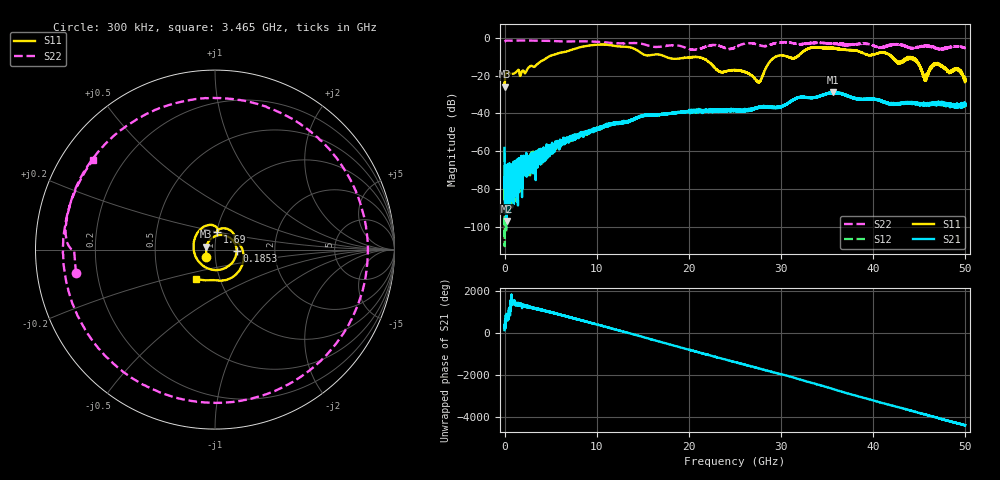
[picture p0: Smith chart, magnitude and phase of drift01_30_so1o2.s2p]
!Created with skrf (http://scikit-rf.org).
# Hz S RI R 50.0
!freq ReS11 ImS11 ReS21 ImS21 ReS12 ImS12 ReS22 ImS22
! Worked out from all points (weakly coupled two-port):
!   10001 points, 300 kHz to 50 GHz, reference 50 ohm
!   highest |S21| = -28.80 dB at 35.65 GHz (marker M1); lowest = -96.9 dB at 235.3 MHz (marker M2)
!   lowest |S11| = -25.9 dB at 5.3 MHz (marker M3), VSWR 1.11, Z = 45.3 + j1.41 ohm
!   |S11| at or under -10 dB: start of sweep to 4.765 GHz; 17.51 GHz to 29.4 GHz (11.9 GHz wide, 50.7 % of centre); 42.08 GHz to end of sweep (the widest 3 of 11)
!   |S22| runs from -6.4 to -1.4 dB; largest |S21 - S12| = 0.0041
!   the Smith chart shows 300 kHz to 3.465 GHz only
!   S11 on the Smith chart (normalised r, x): 300 kHz: 0.90, -0.08; 185.3 MHz: 1.27, -0.02; 1.69 GHz: 1.00, +0.20; 3.465 GHz: 0.77, -0.26
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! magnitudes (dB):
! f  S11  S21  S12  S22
! 300 kHz  -23.8  -58.2  -61.0  -2.1
! 5.3 MHz  -25.9  -70.7  -110.3  -2.1
! 185.3 MHz  -18.4  -92.8  -83.6  -1.4
! 235.3 MHz  -18.3  -96.9  -74.5  -1.4
! 1.69 GHz  -20.1  -69.2  -71.3  -1.4
! 3.465 GHz  -14.3  -64.1  -61.3  -1.5
! 8.335 GHz  -4.8  -51.0  -50.9  -1.8
! 16.67 GHz  -8.7  -40.7  -40.6  -4.8
! 21.17 GHz  -10.3  -38.6  -38.6  -5.9
! 23.36 GHz  -17.9  -38.0  -38.8  -4.4
! 25 GHz  -17.0  -38.4  -38.2  -5.1
! 27.59 GHz  -23.7  -37.0  -36.8  -3.8
! 29.28 GHz  -10.3  -36.7  -36.5  -2.9
! 31.45 GHz  -10.7  -32.4  -32.5  -3.0
! 33.34 GHz  -5.1  -31.7  -31.6  -2.7
! 35.65 GHz  -5.6  -28.8  -29.0  -3.1
! 41.67 GHz  -8.8  -34.6  -34.6  -4.2
! 42.74 GHz  -12.9  -34.8  -34.7  -3.4
! 44.46 GHz  -11.0  -34.7  -34.5  -5.3
! 45.63 GHz  -21.8  -35.0  -35.1  -4.4
! 46.89 GHz  -13.8  -34.7  -34.8  -5.4
! 50 GHz  -21.9  -35.8  -35.6  -5.4
